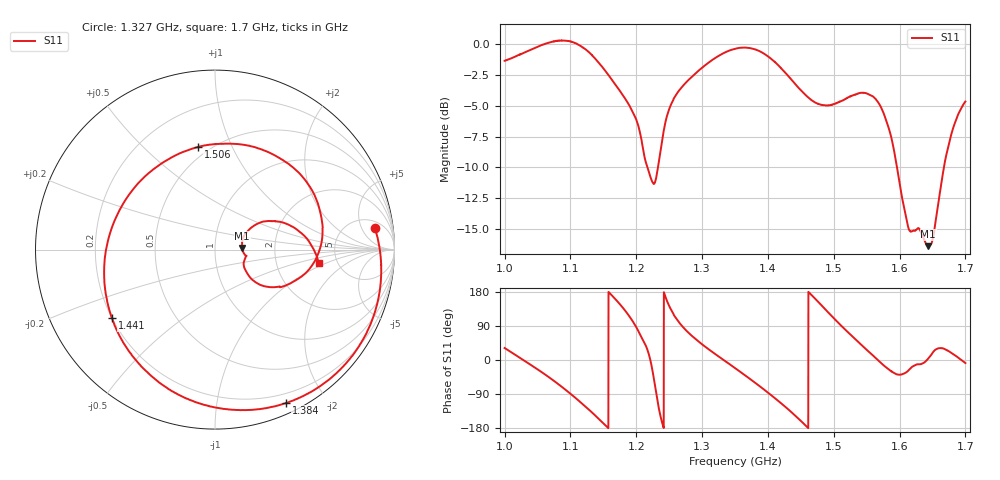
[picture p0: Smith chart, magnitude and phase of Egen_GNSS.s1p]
# HZ S RI R 50
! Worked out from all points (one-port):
!   3030 points, 1 GHz to 1.7 GHz, reference 50 ohm
!   lowest |S11| = -16.4 dB at 1.643 GHz (marker M1), VSWR 1.36, Z = 67.8 + j1.29 ohm
!   |S11| at or under -10 dB: 1.217 GHz to 1.233 GHz (15.81 MHz wide, 1.29 % of centre); 1.596 GHz to 1.667 GHz (71.18 MHz wide, 4.36 % of centre)
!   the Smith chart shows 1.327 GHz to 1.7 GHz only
!   S11 on the Smith chart (normalised r, x): 1.327 GHz: 7, +9; 1.384 GHz: 0.10, -1.56; 1.441 GHz: 0.20, -0.29; 1.506 GHz: 0.44, +0.75; 1.7 GHz: 3.59, -0.82
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1e9  0.728 0.4483
1.047375e9  0.8993 -0.3564
1.087587e9  0.3234 -0.981
1.110465e9  -0.246 -0.9672
1.136117e9  -0.7119 -0.5194
1.175173e9  -0.5414 0.3508
1.196203e9  -0.0714 0.515
1.213304e9  0.2531 0.2289
1.223473e9  0.2675 -0.0829
1.232023e9  -0.0835 -0.2941
1.244734e9  -0.4706 0.1286
1.262528e9  -0.1639 0.6131
1.290491e9  0.4408 0.6219
1.326543e9  0.8915 0.1177
1.350115e9  0.8907 -0.349
1.384318e9  0.3982 -0.8543
1.437702e9  -0.5491 -0.446
1.441168e9  -0.5744 -0.382
1.471442e9  -0.5526 0.177
1.506338e9  -0.0931 0.5717
1.525057e9  0.235 0.5666
1.561571e9  0.5987 0.0925
1.586067e9  0.3807 -0.205
1.612643e9  0.1605 -0.0887
1.64338e9  0.1515 0.0093
1.67296e9  0.3403 0.1571
1.699537e9  0.5776 -0.0753
1.699999e9  0.5788 -0.0824
